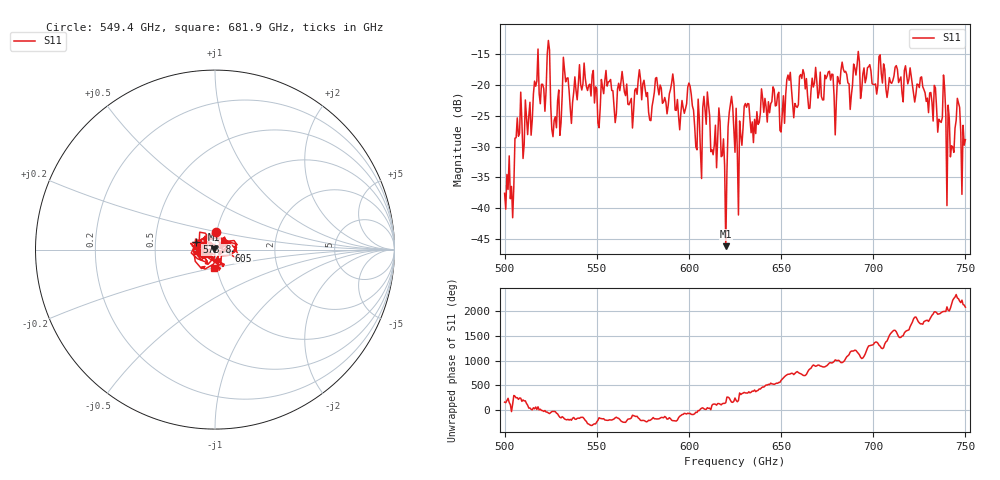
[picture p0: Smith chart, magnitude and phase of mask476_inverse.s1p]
!Created with skrf (http://scikit-rf.org).
# GHz S MA R 50.0
!freq magS11 angS11
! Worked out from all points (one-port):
!   401 points, 500 GHz to 750 GHz, reference 50 ohm
!   lowest |S11| = -46.2 dB at 620 GHz (marker M1), VSWR 1.01, Z = 49.6 + j0.217 ohm
!   |S11| at or under -10 dB: start of sweep to end of sweep
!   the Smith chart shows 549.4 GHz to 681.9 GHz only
!   S11 on the Smith chart (normalised r, x): 549.4 GHz: 0.99, +0.19; 573.8 GHz: 0.81, +0.07; 605 GHz: 1.17, -0.01; 681.9 GHz: 0.96, -0.20
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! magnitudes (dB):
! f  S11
! 500 GHz  -37.6
! 516.9 GHz  -20.2
! 523.8 GHz  -12.7
! 526.9 GHz  -25.7
! 531.2 GHz  -21.7
! 549.4 GHz  -20.3
! 562.5 GHz  -20.9
! 568.8 GHz  -22.2
! 573.8 GHz  -19.0
! 593.8 GHz  -22.3
! 600.6 GHz  -20.2
! 605 GHz  -22.3
! 609.4 GHz  -26.4
! 620 GHz  -46.2
! 622.5 GHz  -23.1
! 625 GHz  -30.9
! 627.5 GHz  -25.8
! 631.2 GHz  -23.6
! 635 GHz  -29.4
! 656.2 GHz  -22.8
! 681.9 GHz  -19.8
! 687.5 GHz  -24.0
! 691.2 GHz  -16.7
! 718.8 GHz  -19.8
! 738.1 GHz  -18.4
! 741.2 GHz  -25.4
! 745.6 GHz  -22.2
! 750 GHz  -28.9
